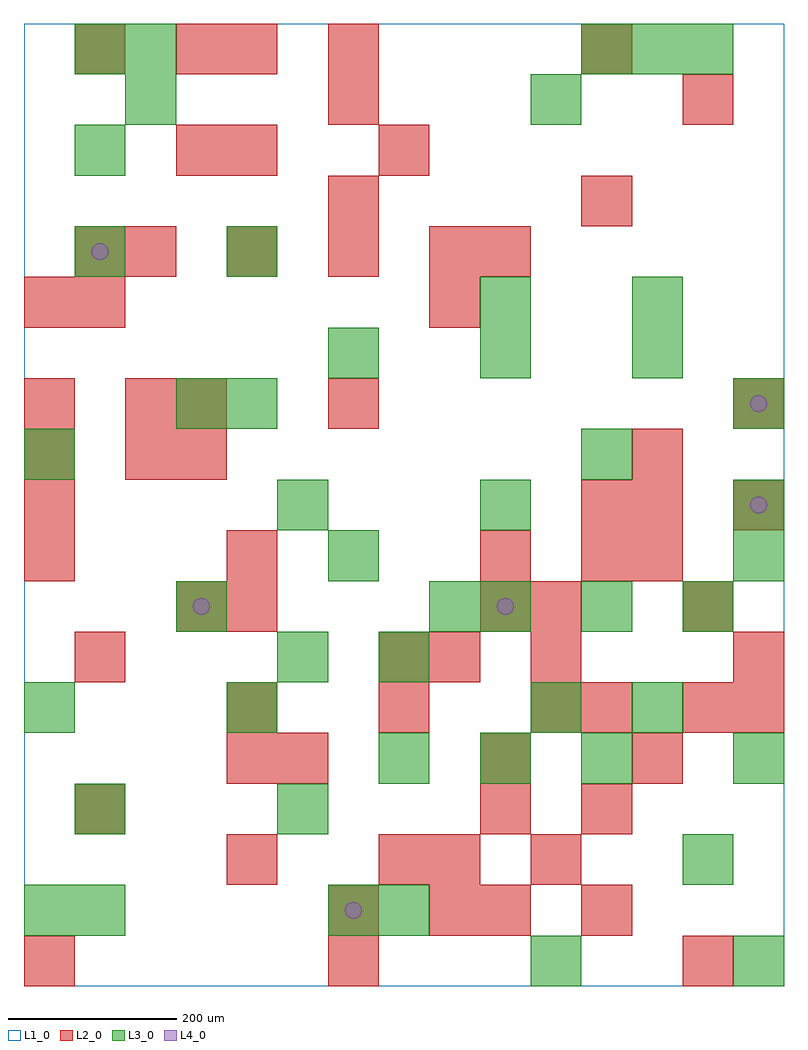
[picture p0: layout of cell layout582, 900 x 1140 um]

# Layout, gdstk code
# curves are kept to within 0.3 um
import gdstk
lib = gdstk.Library(unit=1e-6, precision=1e-09)
def R(c, l, rs):  # rectangles x0, y0, x1, y1
    for r in rs: c.add(gdstk.rectangle(r[:2], r[2:], *l))
def A(c, l, x, y, w, h, nx, ny, dx, dy):  # array of equal rectangles
    R(c, l, [(x+i*dx, y+j*dy, x+i*dx+w, y+j*dy+h) for i in range(nx) for j in range(ny)])
def P(c, l, *ps):  # polygons
    for p in ps: c.add(gdstk.Polygon(p, *l))
L1_0 = (1, 0)
L2_0 = (2, 0)
L3_0 = (3, 0)
L4_0 = (4, 0)

layout582 = lib.new_cell('layout582')
R(layout582, L1_0, [(0,0,900,1140)])
A(layout582, L2_0, 660, 60, 60, 60, 1, 3, 0, 120)
A(layout582, L2_0, 240, 300, 60, 60, 3, 1, 180, 0)
A(layout582, L2_0, 0, 480, 60, 60, 1, 4, 0, 60)
A(layout582, L2_0, 720, 480, 60, 60, 1, 3, 0, 60)
A(layout582, L2_0, 120, 840, 60, 60, 4, 1, 120, 0)
R(layout582, L2_0, [(0,0,60,60), (360,0,420,60), (780,0,840,60), (360,60,420,120), (480,60,540,120), (540,60,600,120), (240,120,300,180), (420,120,480,180), (480,120,540,180), (600,120,660,180), (60,180,120,240), (540,180,600,240), (240,240,300,300), (300,240,360,300), (540,240,600,300), (720,240,780,300), (780,300,840,360), (840,300,900,360), (60,360,120,420), (420,360,480,420), (480,360,540,420), (600,360,660,420), (840,360,900,420), (180,420,240,480), (240,420,300,480), (540,420,600,480), (600,420,660,480), (780,420,840,480), (240,480,300,540), (540,480,600,540), (660,480,720,540), (660,540,720,600), (840,540,900,600), (120,600,180,660), (180,600,240,660), (120,660,180,720), (180,660,240,720), (360,660,420,720), (840,660,900,720), (0,780,60,840), (60,780,120,840), (480,780,540,840), (60,840,120,900), (540,840,600,900), (360,900,420,960), (660,900,720,960), (180,960,240,1020), (240,960,300,1020), (420,960,480,1020), (360,1020,420,1080), (780,1020,840,1080), (60,1080,120,1140), (180,1080,240,1140), (240,1080,300,1140), (360,1080,420,1140), (660,1080,720,1140)])
A(layout582, L3_0, 840, 0, 60, 60, 1, 3, 0, 240)
A(layout582, L3_0, 300, 180, 60, 60, 1, 3, 0, 180)
A(layout582, L3_0, 420, 240, 60, 60, 3, 1, 120, 0)
A(layout582, L3_0, 540, 420, 60, 60, 3, 1, 120, 0)
A(layout582, L3_0, 360, 720, 60, 60, 3, 1, 180, 0)
A(layout582, L3_0, 60, 840, 60, 60, 1, 3, 0, 120)
A(layout582, L3_0, 660, 1080, 60, 60, 3, 1, 60, 0)
R(layout582, L3_0, [(600,0,660,60), (0,60,60,120), (60,60,120,120), (360,60,420,120), (420,60,480,120), (780,120,840,180), (60,180,120,240), (0,300,60,360), (240,300,300,360), (600,300,660,360), (720,300,780,360), (420,360,480,420), (180,420,240,480), (480,420,540,480), (360,480,420,540), (540,540,600,600), (840,540,900,600), (0,600,60,660), (660,600,720,660), (180,660,240,720), (240,660,300,720), (840,660,900,720), (540,780,600,840), (720,780,780,840), (240,840,300,900), (120,1020,180,1080), (600,1020,660,1080), (120,1080,180,1140)])
P(layout582, L4_0, [(100,870),(99.239,873.827),(97.071,877.071),(93.827,879.239),(90,880),(86.173,879.239),(82.929,877.071),(80.761,873.827),(80,870),(80.761,866.173),(82.929,862.929),(86.173,860.761),(90,860),(93.827,860.761),(97.071,862.929),(99.239,866.173)],
  [(220,450),(219.239,453.827),(217.071,457.071),(213.827,459.239),(210,460),(206.173,459.239),(202.929,457.071),(200.761,453.827),(200,450),(200.761,446.173),(202.929,442.929),(206.173,440.761),(210,440),(213.827,440.761),(217.071,442.929),(219.239,446.173)],
  [(400,90),(399.239,93.827),(397.071,97.071),(393.827,99.239),(390,100),(386.173,99.239),(382.929,97.071),(380.761,93.827),(380,90),(380.761,86.173),(382.929,82.929),(386.173,80.761),(390,80),(393.827,80.761),(397.071,82.929),(399.239,86.173)],
  [(580,450),(579.239,453.827),(577.071,457.071),(573.827,459.239),(570,460),(566.173,459.239),(562.929,457.071),(560.761,453.827),(560,450),(560.761,446.173),(562.929,442.929),(566.173,440.761),(570,440),(573.827,440.761),(577.071,442.929),(579.239,446.173)],
  [(880,570),(879.239,573.827),(877.071,577.071),(873.827,579.239),(870,580),(866.173,579.239),(862.929,577.071),(860.761,573.827),(860,570),(860.761,566.173),(862.929,562.929),(866.173,560.761),(870,560),(873.827,560.761),(877.071,562.929),(879.239,566.173)],
  [(880,690),(879.239,693.827),(877.071,697.071),(873.827,699.239),(870,700),(866.173,699.239),(862.929,697.071),(860.761,693.827),(860,690),(860.761,686.173),(862.929,682.929),(866.173,680.761),(870,680),(873.827,680.761),(877.071,682.929),(879.239,686.173)])

lib.write_gds('layout582.gds')
